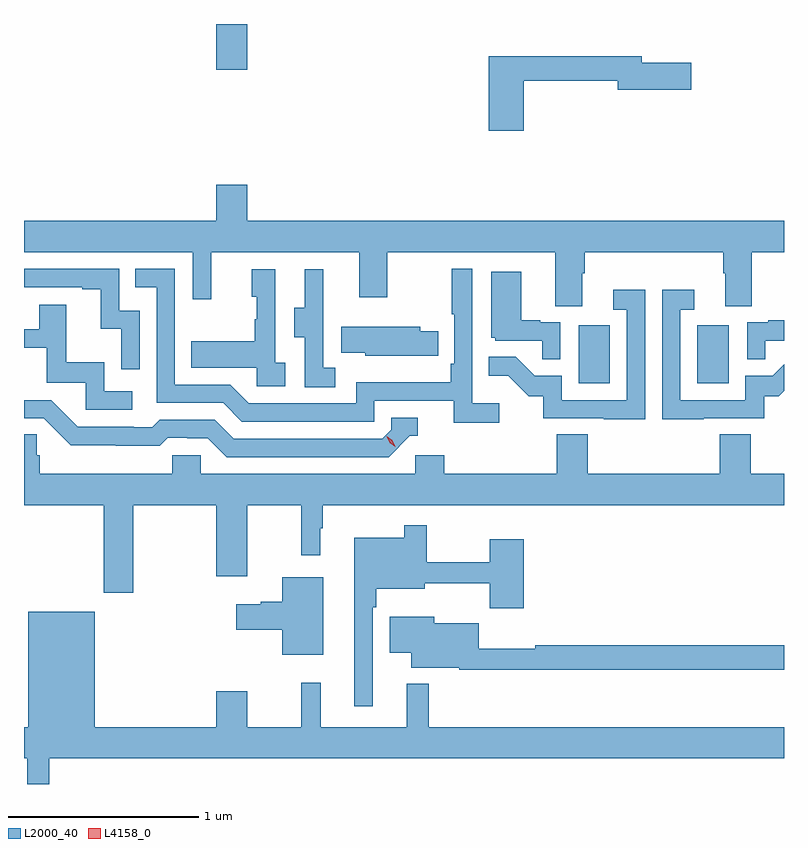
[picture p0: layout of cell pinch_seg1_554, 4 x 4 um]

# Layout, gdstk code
import gdstk
lib = gdstk.Library(unit=1e-6, precision=1e-09)
def R(c, l, rs):  # rectangles x0, y0, x1, y1
    for r in rs: c.add(gdstk.rectangle(r[:2], r[2:], *l))
def P(c, l, *ps):  # polygons
    for p in ps: c.add(gdstk.Polygon(p, *l))
L2000_40 = (2000, 40)
L4158_0 = (4158, 0)

pinch_seg1_554 = lib.new_cell('pinch_seg1_554')
R(pinch_seg1_554, L2000_40, [(1066.016,517.74,1066.18,518.047), (1066.64,517.74,1066.804,518.047), (1064.108,519.39,1064.272,519.632)])
P(pinch_seg1_554, L2000_40, [(1065.725,519.334),(1066.22,519.334),(1066.22,519.287),(1066.609,519.287),(1066.609,519.429),(1066.348,519.429),(1066.348,519.463),(1065.542,519.463),(1065.542,519.069),(1065.725,519.069)],
  [(1066.033,518.32),(1066.046,518.32),(1066.046,518.432),(1066.775,518.432),(1066.775,518.32),(1066.787,518.32),(1066.787,518.146),(1066.927,518.146),(1066.927,518.432),(1067.096,518.432),(1067.096,518.596),(1064.272,518.596),(1064.272,518.785),(1064.108,518.785),(1064.108,518.596),(1063.096,518.596),(1063.096,518.432),(1063.983,518.432),(1063.983,518.184),(1064.081,518.184),(1064.081,518.432),(1064.861,518.432),(1064.861,518.193),(1065.009,518.193),(1065.009,518.432),(1065.893,518.432),(1065.893,518.146),(1066.033,518.146)],
  [(1065.598,517.636),(1065.456,517.636),(1065.456,518.344),(1065.348,518.344),(1065.348,518.104),(1065.36,518.104),(1065.36,517.843),(1065.343,517.843),(1065.343,517.747),(1064.844,517.747),(1064.844,517.635),(1064.28,517.635),(1064.181,517.734),(1063.89,517.734),(1063.89,518.343),(1063.681,518.343),(1063.681,518.247),(1063.794,518.247),(1063.794,517.638),(1064.144,517.638),(1064.243,517.539),(1064.94,517.539),(1064.94,517.65),(1065.359,517.65),(1065.359,517.534),(1065.598,517.534)],
  [(1063.704,518.124),(1063.596,518.124),(1063.596,518.343),(1063.096,518.343),(1063.096,518.247),(1063.403,518.247),(1063.403,518.235),(1063.499,518.235),(1063.499,518.027),(1063.608,518.027),(1063.608,517.815),(1063.704,517.815)],
  [(1064.734,517.823),(1064.67,517.823),(1064.67,518.127),(1064.672,518.127),(1064.672,518.341),(1064.573,518.341),(1064.573,518.139),(1064.519,518.139),(1064.519,517.984),(1064.574,517.984),(1064.574,517.72),(1064.734,517.72)],
  [(1064.47,517.85),(1064.418,517.85),(1064.418,518.341),(1064.294,518.341),(1064.294,518.196),(1064.32,518.196),(1064.32,518.078),(1064.31,518.078),(1064.31,517.963),(1063.975,517.963),(1063.975,517.823),(1064.322,517.823),(1064.322,517.725),(1064.47,517.725)],
  [(1065.918,518.061),(1065.812,518.061),(1065.812,518.074),(1065.712,518.074),(1065.712,518.329),(1065.554,518.329),(1065.554,517.98),(1065.576,517.98),(1065.576,517.965),(1065.823,517.965),(1065.823,517.867),(1065.918,517.867)],
  [(1066.673,517.557),(1066.992,517.557),(1066.992,517.674),(1067.068,517.674),(1067.096,517.702),(1067.096,517.841),(1067.037,517.782),(1066.893,517.782),(1066.893,517.653),(1066.551,517.653),(1066.551,518.127),(1066.624,518.127),(1066.624,518.233),(1066.455,518.233),(1066.455,517.552),(1066.673,517.552)],
  [(1066.365,518.233),(1066.197,518.233),(1066.197,518.127),(1066.269,518.127),(1066.269,517.653),(1065.927,517.653),(1065.927,517.782),(1065.783,517.782),(1065.685,517.88),(1065.541,517.88),(1065.541,517.781),(1065.645,517.781),(1065.752,517.674),(1065.829,517.674),(1065.829,517.557),(1066.147,517.557),(1066.147,517.552),(1066.365,517.552)],
  [(1063.666,517.698),(1063.518,517.698),(1063.518,517.852),(1063.319,517.852),(1063.319,518.155),(1063.175,518.155),(1063.175,518.025),(1063.096,518.025),(1063.096,517.929),(1063.217,517.929),(1063.217,517.743),(1063.422,517.743),(1063.422,517.602),(1063.666,517.602)],
  [(1066.997,517.965),(1067.096,517.965),(1067.096,518.074),(1067.013,518.074),(1067.013,518.061),(1066.902,518.061),(1066.902,517.867),(1066.997,517.867)],
  [(1065.164,517.887),(1065.275,517.887),(1065.275,518.016),(1065.181,518.016),(1065.181,518.038),(1064.767,518.038),(1064.767,517.901),(1064.892,517.901),(1064.892,517.886),(1065.164,517.886)],
  [(1065.126,517.464),(1065.169,517.464),(1065.169,517.56),(1065.03,517.56),(1065.03,517.497),(1064.982,517.449),(1064.199,517.449),(1064.1,517.548),(1063.811,517.548),(1063.772,517.509),(1063.673,517.509),(1063.673,517.512),(1063.38,517.512),(1063.239,517.653),(1063.096,517.653),(1063.096,517.557),(1063.2,517.557),(1063.342,517.415),(1063.578,517.415),(1063.578,517.413),(1063.811,517.413),(1063.853,517.455),(1063.956,517.455),(1063.956,517.452),(1064.063,517.452),(1064.162,517.353),(1065.015,517.353)],
  [(1064.025,517.362),(1063.875,517.362),(1063.875,517.264),(1063.178,517.264),(1063.178,517.362),(1063.163,517.362),(1063.163,517.472),(1063.096,517.472),(1063.096,517.1),(1063.516,517.1),(1063.516,516.639),(1063.671,516.639),(1063.671,517.1),(1064.108,517.1),(1064.108,516.726),(1064.272,516.726),(1064.272,517.1),(1064.554,517.1),(1064.554,516.837),(1064.656,516.837),(1064.656,516.977),(1064.668,516.977),(1064.668,517.1),(1067.096,517.1),(1067.096,517.264),(1066.922,517.264),(1066.922,517.472),(1066.757,517.472),(1066.757,517.264),(1066.064,517.264),(1066.064,517.472),(1065.899,517.472),(1065.899,517.264),(1065.308,517.264),(1065.308,517.362),(1065.156,517.362),(1065.156,517.264),(1064.025,517.264)],
  [(1064.931,516.563),(1064.951,516.563),(1064.951,516.659),(1065.205,516.659),(1065.205,516.689),(1065.547,516.689),(1065.547,516.558),(1065.725,516.558),(1065.725,516.919),(1065.547,516.919),(1065.547,516.799),(1065.217,516.799),(1065.217,516.994),(1065.096,516.994),(1065.096,516.928),(1064.834,516.928),(1064.834,516.042),(1064.931,516.042)],
  [(1064.671,516.721),(1064.456,516.721),(1064.456,516.59),(1064.343,516.59),(1064.343,516.577),(1064.214,516.577),(1064.214,516.443),(1064.456,516.443),(1064.456,516.311),(1064.671,516.311)],
  [(1063.229,515.768),(1067.096,515.768),(1067.096,515.932),(1065.227,515.932),(1065.227,516.16),(1065.11,516.16),(1065.11,515.932),(1064.657,515.932),(1064.657,516.166),(1064.554,516.166),(1064.554,515.932),(1064.272,515.932),(1064.272,516.121),(1064.108,516.121),(1064.108,515.932),(1063.468,515.932),(1063.468,516.538),(1063.118,516.538),(1063.118,515.932),(1063.096,515.932),(1063.096,515.768),(1063.112,515.768),(1063.112,515.632),(1063.229,515.632)],
  [(1067.096,516.362),(1065.786,516.362),(1065.786,516.344),(1065.49,516.344),(1065.49,516.478),(1065.256,516.478),(1065.256,516.511),(1065.02,516.511),(1065.02,516.323),(1065.134,516.323),(1065.134,516.245),(1065.386,516.245),(1065.386,516.234),(1067.096,516.234)])
P(pinch_seg1_554, L4158_0, [(1065.05,517.408),(1065.02,517.428),(1065.004,517.461),(1065.004,517.462),(1065.004,517.462),(1065.035,517.442),(1065.051,517.409),(1065.051,517.408)])

lib.write_gds('pinch_seg1_554.gds')
